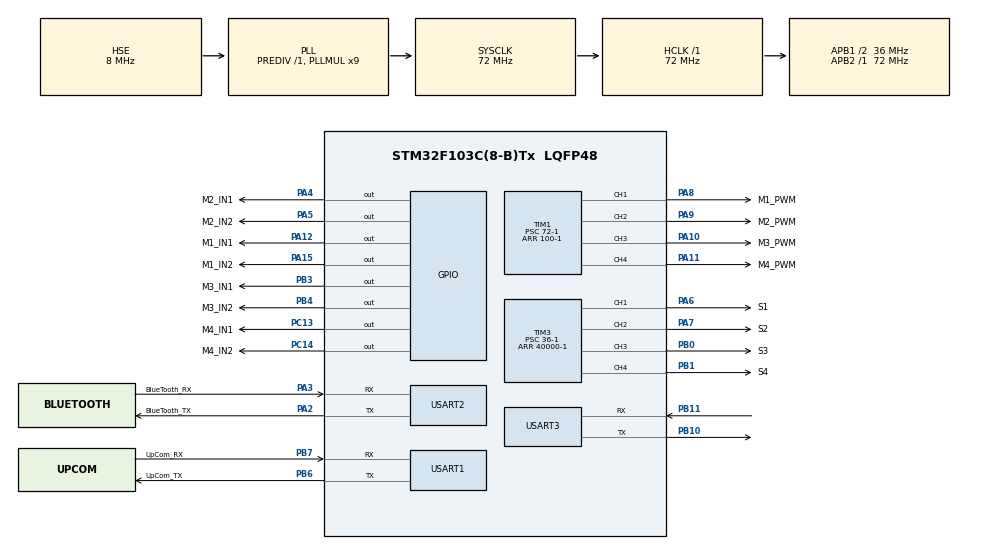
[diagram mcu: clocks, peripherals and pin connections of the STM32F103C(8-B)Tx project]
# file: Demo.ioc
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Dma.Request0=USART1_RX
Dma.Request1=USART1_TX
Dma.Request2=USART2_RX
Dma.Request3=USART2_TX
Dma.USART1_RX.0.Direction=DMA_PERIPH_TO_MEMORY
Dma.USART1_RX.0.Instance=DMA1_Channel5
Dma.USART1_RX.0.MemDataAlignment=DMA_MDATAALIGN_BYTE
Dma.USART1_RX.0.MemInc=DMA_MINC_ENABLE
Dma.USART1_RX.0.Mode=DMA_NORMAL
Dma.USART1_RX.0.PeriphDataAlignment=DMA_PDATAALIGN_BYTE
Dma.USART1_RX.0.PeriphInc=DMA_PINC_DISABLE
Dma.USART1_RX.0.Priority=DMA_PRIORITY_LOW
Dma.USART1_TX.1.Direction=DMA_MEMORY_TO_PERIPH
Dma.USART1_TX.1.Instance=DMA1_Channel4
Dma.USART1_TX.1.MemDataAlignment=DMA_MDATAALIGN_BYTE
Dma.USART1_TX.1.MemInc=DMA_MINC_ENABLE
Dma.USART1_TX.1.Mode=DMA_NORMAL
Dma.USART1_TX.1.PeriphDataAlignment=DMA_PDATAALIGN_BYTE
Dma.USART1_TX.1.PeriphInc=DMA_PINC_DISABLE
Dma.USART1_TX.1.Priority=DMA_PRIORITY_LOW
Dma.USART2_RX.2.Direction=DMA_PERIPH_TO_MEMORY
Dma.USART2_RX.2.Instance=DMA1_Channel6
Dma.USART2_RX.2.MemDataAlignment=DMA_MDATAALIGN_BYTE
Dma.USART2_RX.2.MemInc=DMA_MINC_ENABLE
Dma.USART2_RX.2.Mode=DMA_NORMAL
Dma.USART2_RX.2.PeriphDataAlignment=DMA_PDATAALIGN_BYTE
Dma.USART2_RX.2.PeriphInc=DMA_PINC_DISABLE
Dma.USART2_RX.2.Priority=DMA_PRIORITY_MEDIUM
Dma.USART2_TX.3.Direction=DMA_MEMORY_TO_PERIPH
Dma.USART2_TX.3.Instance=DMA1_Channel7
Dma.USART2_TX.3.MemDataAlignment=DMA_MDATAALIGN_BYTE
Dma.USART2_TX.3.MemInc=DMA_MINC_ENABLE
Dma.USART2_TX.3.Mode=DMA_NORMAL
Dma.USART2_TX.3.PeriphDataAlignment=DMA_PDATAALIGN_BYTE
Dma.USART2_TX.3.PeriphInc=DMA_PINC_DISABLE
Dma.USART2_TX.3.Priority=DMA_PRIORITY_LOW
Mcu.Family=STM32F1
Mcu.Name=STM32F103C(8-B)Tx
Mcu.Package=LQFP48
NVIC.DMA1_Channel4_IRQn=true\:0\:0\:false\:false\:true\:false\:true\:true
NVIC.DMA1_Channel5_IRQn=true\:0\:0\:true\:false\:true\:false\:true\:true
NVIC.DMA1_Channel6_IRQn=true\:0\:0\:false\:false\:true\:false\:true\:true
NVIC.DMA1_Channel7_IRQn=true\:0\:0\:false\:false\:true\:false\:true\:true
NVIC.PriorityGroup=NVIC_PRIORITYGROUP_4
NVIC.TIM2_IRQn=true\:0\:0\:false\:false\:true\:true\:true\:true
NVIC.USART1_IRQn=true\:0\:0\:false\:false\:true\:false\:true\:true
NVIC.USART2_IRQn=true\:0\:0\:false\:false\:true\:true\:true\:true
PA10.GPIO_Label=M3_PWM
PA10.GPIO_Speed=GPIO_SPEED_FREQ_HIGH
PA10.Signal=S_TIM1_CH3
PA11.GPIO_Label=M4_PWM
PA11.GPIO_Speed=GPIO_SPEED_FREQ_HIGH
PA11.Signal=S_TIM1_CH4
PA12.GPIO_Label=M1_IN1
PA12.GPIO_Speed=GPIO_SPEED_FREQ_MEDIUM
PA12.Signal=GPIO_Output
PA13.Mode=Serial_Wire
PA13.Signal=SYS_JTMS-SWDIO
PA14.Mode=Serial_Wire
PA14.Signal=SYS_JTCK-SWCLK
PA15.GPIO_Label=M1_IN2
PA15.GPIO_Speed=GPIO_SPEED_FREQ_MEDIUM
PA15.Signal=GPIO_Output
PA2.GPIO_Label=BlueTooth_TX
PA2.Mode=Asynchronous
PA2.Signal=USART2_TX
PA3.GPIO_Label=BlueTooth_RX
PA3.Mode=Asynchronous
PA3.Signal=USART2_RX
PA4.GPIO_Label=M2_IN1
PA4.GPIO_Speed=GPIO_SPEED_FREQ_MEDIUM
PA4.Signal=GPIO_Output
PA5.GPIO_Label=M2_IN2
PA5.GPIO_Speed=GPIO_SPEED_FREQ_MEDIUM
PA5.Signal=GPIO_Output
PA6.GPIO_Label=S1
PA6.GPIO_Speed=GPIO_SPEED_FREQ_HIGH
PA6.Signal=S_TIM3_CH1
PA7.GPIO_Label=S2
PA7.GPIO_Speed=GPIO_SPEED_FREQ_HIGH
PA7.Signal=S_TIM3_CH2
PA8.GPIO_Label=M1_PWM
PA8.GPIO_Speed=GPIO_SPEED_FREQ_HIGH
PA8.Signal=S_TIM1_CH1
PA9.GPIO_Label=M2_PWM
PA9.GPIO_Speed=GPIO_SPEED_FREQ_HIGH
PA9.Signal=S_TIM1_CH2
PB0.GPIO_Label=S3
PB0.GPIO_Speed=GPIO_SPEED_FREQ_HIGH
PB0.Signal=S_TIM3_CH3
PB1.GPIO_Label=S4
PB1.GPIO_Speed=GPIO_SPEED_FREQ_HIGH
PB1.Signal=S_TIM3_CH4
PB10.Mode=Asynchronous
PB10.Signal=USART3_TX
PB11.Mode=Asynchronous
PB11.Signal=USART3_RX
PB3.GPIO_Label=M3_IN1
PB3.GPIO_Speed=GPIO_SPEED_FREQ_MEDIUM
PB3.Signal=GPIO_Output
PB4.GPIO_Label=M3_IN2
PB4.GPIO_Speed=GPIO_SPEED_FREQ_MEDIUM
PB4.Signal=GPIO_Output
PB6.GPIO_Label=UpCom_TX
PB6.Mode=Asynchronous
PB6.Signal=USART1_TX
PB7.GPIO_Label=UpCom_RX
PB7.Mode=Asynchronous
PB7.Signal=USART1_RX
PC13-TAMPER-RTC.GPIO_Label=M4_IN1
PC13-TAMPER-RTC.GPIO_Speed=GPIO_SPEED_FREQ_MEDIUM
PC13-TAMPER-RTC.Signal=GPIO_Output
PC14-OSC32_IN.GPIO_Label=M4_IN2
PC14-OSC32_IN.GPIO_Speed=GPIO_SPEED_FREQ_MEDIUM
PC14-OSC32_IN.Signal=GPIO_Output
PD0-OSC_IN.Mode=HSE-External-Oscillator
PD0-OSC_IN.Signal=RCC_OSC_IN
PD1-OSC_OUT.Mode=HSE-External-Oscillator
PD1-OSC_OUT.Signal=RCC_OSC_OUT
ProjectManager.HeapSize=0x200
ProjectManager.StackSize=0x400
ProjectManager.TargetToolchain=MDK-ARM V5.32
RCC.AHBFreq_Value=72000000
RCC.APB1CLKDivider=RCC_HCLK_DIV2
RCC.APB1Freq_Value=36000000
RCC.APB1TimFreq_Value=72000000
RCC.APB2Freq_Value=72000000
RCC.APB2TimFreq_Value=72000000
RCC.HCLKFreq_Value=72000000
RCC.PLLMUL=RCC_PLL_MUL9
RCC.PLLSourceVirtual=RCC_PLLSOURCE_HSE
RCC.SYSCLKFreq_VALUE=72000000
RCC.SYSCLKSource=RCC_SYSCLKSOURCE_PLLCLK
RCC.USBFreq_Value=72000000
SH.S_TIM1_CH1.0=TIM1_CH1,PWM Generation1 CH1
SH.S_TIM1_CH2.0=TIM1_CH2,PWM Generation2 CH2
SH.S_TIM1_CH3.0=TIM1_CH3,PWM Generation3 CH3
SH.S_TIM1_CH4.0=TIM1_CH4,PWM Generation4 CH4
SH.S_TIM3_CH1.0=TIM3_CH1,PWM Generation1 CH1
SH.S_TIM3_CH2.0=TIM3_CH2,PWM Generation2 CH2
SH.S_TIM3_CH3.0=TIM3_CH3,PWM Generation3 CH3
SH.S_TIM3_CH4.0=TIM3_CH4,PWM Generation4 CH4
TIM1.AutoReloadPreload=TIM_AUTORELOAD_PRELOAD_ENABLE
TIM1.Channel-PWM\ Generation1\ CH1=TIM_CHANNEL_1
TIM1.Channel-PWM\ Generation2\ CH2=TIM_CHANNEL_2
TIM1.Channel-PWM\ Generation3\ CH3=TIM_CHANNEL_3
TIM1.Channel-PWM\ Generation4\ CH4=TIM_CHANNEL_4
TIM1.Period=100-1
TIM1.Prescaler=72-1
TIM2.AutoReloadPreload=TIM_AUTORELOAD_PRELOAD_ENABLE
TIM2.Prescaler=72-1
TIM3.AutoReloadPreload=TIM_AUTORELOAD_PRELOAD_ENABLE
TIM3.Channel-PWM\ Generation1\ CH1=TIM_CHANNEL_1
TIM3.Channel-PWM\ Generation2\ CH2=TIM_CHANNEL_2
TIM3.Channel-PWM\ Generation3\ CH3=TIM_CHANNEL_3
TIM3.Channel-PWM\ Generation4\ CH4=TIM_CHANNEL_4
TIM3.Period=40000-1
TIM3.Prescaler=36-1
USART1.VirtualMode=VM_ASYNC
USART2.VirtualMode=VM_ASYNC
USART3.VirtualMode=VM_ASYNC
VP_TIM1_VS_ClockSourceINT.Mode=Internal
VP_TIM2_VS_ClockSourceINT.Mode=Internal
VP_TIM3_VS_ClockSourceINT.Mode=Internal
VP_TIM4_VS_ClockSourceINT.Mode=Internal
board=custom

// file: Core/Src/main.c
/* USER CODE BEGIN Header */
/**
  ******************************************************************************
  * @file           : main.c
  * @brief          : Main program body
  ******************************************************************************
  * @attention
  *
  * Copyright (c) 2025 STMicroelectronics.
  * All rights reserved.
  *
  * This software is licensed under terms that can be found in the LICENSE file
  * in the root directory of this software component.
  * If no LICENSE file comes with this software, it is provided AS-IS.
  *
  ******************************************************************************
  */
/* USER CODE END Header */
#include "main.h"
#include "dma.h"
#include "tim.h"
#include "usart.h"
#include "gpio.h"

/* USER CODE BEGIN Includes */
#include "BlueTooth.h"
#include "UpCom.h"
#include <math.h>
//蓝牙通信相关数据
extern uint8_t Bluetooth_RxData[Bluetooth_length];//接收缓冲区
extern struct Struct_Bluetooth_RxData RxData;//存放数据的结构体
extern struct Struct_Bluetooth_PorcessData PorcessData;//处理后的结构体
//与上位机通信相关数据
extern uint8_t UpCom_RxData_Buffer[UpCom_length];//接收缓冲区域
extern struct Struct_UpCom_RxData UpComRxData;//存放数据的结构体
extern struct Struct_UpCom_ProcessData ProcessData;//处理后的结构体
/* USER CODE END Includes */

/* USER CODE BEGIN PTD */

//存放与驱动轮子有关的数据的结构体
typedef struct {
	float angle;					//手柄指向角度（以手柄松手处为原点平面直角坐标系）
	float divisor;				//除数（用来平衡占空比的值，解决麦轮解算出来后四角的值超过ARR的问题）
	float pct_omega;			//车的角速度对应占空比
	float pct_vx;    			//x方向速度比例
	float pct_vy;    			//y方向速度比例
	float v_wheels[5];		//轮子的速度
	float duty_wheels[5];	//轮子的占空比（pwm直接控制轮子转速）
}Mc_Wheels_Typedef;
/* USER CODE END PTD */

/* USER CODE BEGIN PD */
#define DY 0.1   					//中心到轮轴的最短距离
#define DX 0.06   				//轮轴中心到轮子中心的距离
#define R_WHEEL 0.03			//轮子半径
/* USER CODE END PD */

/* USER CODE BEGIN PV */
Mc_Wheels_Typedef mc_wheels;		//创建轮子结构体
uint8_t temp[4] = {1,2,3,4};		//临时变量用来要发给电脑的数据（仅仅用于检测）

//舵机位置初始化
int duty_S1 = 1442;//2800初始
int duty_S2 = 2800;
int duty_S3 = 4560;
int duty_S4 = 1920;

//电机速度上限
int Max_Speed = 99;
int Max_Speed_w = 99;

float DUTY_Wheels[5] = {0.0f};
/* USER CODE END PV */

void SystemClock_Config(void);
/* USER CODE BEGIN PFP */
void Amon_AllMotor_SharpBrake(void);	//急刹
void Amon_AllMotor_SlowBrake(void);		//缓刹
void Amon_Chassis_Calculate_Contrary(Mc_Wheels_Typedef* Mc_wheels,struct Struct_Bluetooth_PorcessData* PorcessData);  //底盘解算
void Amon_Direct_control(Mc_Wheels_Typedef* mc_wheels);	 //方向控制（控制各个轮子的转向）
void Amon_Serve_Control(void);
/* USER CODE END PFP */

/* USER CODE BEGIN 0 */
uint8_t count;//计数
void HAL_TIM_PeriodElapsedCallback(TIM_HandleTypeDef *htim)//一段时间检测以下各个按钮的状态
{
    if (htim->Instance == TIM2)
    {
        Key_Scan();
        //测试按键触发 单次按下只累加一次
        if(PorcessData.Key[0] == Key_Status_TRIG_FREE_PRESSED)
        {
          count ++;
        }

         if (huart2.ErrorCode)
        {
            HAL_UART_DMAStop(&huart2); // 停止以重启
            HAL_UARTEx_ReceiveToIdle_DMA(&huart2,Bluetooth_RxData,Bluetooth_length);
        }
    }
}
void HAL_UARTEx_RxEventCallback(UART_HandleTypeDef *huart, uint16_t Size)
{
		//蓝牙接收数据
    if (huart->Instance == USART2)
    {
      if(Bluetooth_RxData[0] == 0xAA && Bluetooth_RxData[1] == 0x55)
      {
        Bluetooth_Data_Process(Bluetooth_RxData);
      }
      HAL_UARTEx_ReceiveToIdle_DMA(&huart2,Bluetooth_RxData,Bluetooth_length);
    }

		//上位机接收数据
		if (huart->Instance == USART1){
			if(UpCom_RxData_Buffer[0] == 0x2a && UpCom_RxData_Buffer[UpCom_length - 1] == 0x3b){
				UpCom_Data_Process(UpCom_RxData_Buffer);//数据处理
				UpCom_Clear(UpCom_RxData_Buffer);//清楚缓冲区（解决因为缓冲区数据符合条件数据发了两次的问题）
				HAL_UART_Transmit_DMA(&huart1, temp, 4);//向上位机发送数据（不完善）
				HAL_UARTEx_ReceiveToIdle_DMA(&huart1,UpCom_RxData_Buffer,UpCom_length);//DMA空闲中断
			}
		}
}
/* USER CODE END 0 */

int main(void)
{

  /* MCU Configuration--------------------------------------------------------*/

  /* Reset of all peripherals, Initializes the Flash interface and the Systick. */
  HAL_Init();

  /* Configure the system clock */
  SystemClock_Config();

  /* Initialize all configured peripherals */
  MX_GPIO_Init();
  MX_DMA_Init();
  MX_USART1_UART_Init();
  MX_TIM4_Init();
  MX_TIM2_Init();
  MX_USART2_UART_Init();
  MX_TIM1_Init();
  MX_TIM3_Init();
  MX_USART3_UART_Init();
  /* USER CODE BEGIN 2 */
	//启动定时器
  HAL_TIM_Base_Start_IT(&htim2);//用来时不时检测按键
	HAL_UARTEx_ReceiveToIdle_DMA(&huart2,Bluetooth_RxData,Bluetooth_length);//DMA空闲中断，表示数据已经接收搬运完毕

	//电机PWM启动
	HAL_TIM_PWM_Start(&htim1, TIM_CHANNEL_1);	//左前
	HAL_TIM_PWM_Start(&htim1, TIM_CHANNEL_2); //右前
	HAL_TIM_PWM_Start(&htim1, TIM_CHANNEL_3); //左后
	HAL_TIM_PWM_Start(&htim1, TIM_CHANNEL_4); //右后

	//舵机启动
	HAL_TIM_PWM_Start(&htim3, TIM_CHANNEL_1);
	HAL_TIM_PWM_Start(&htim3, TIM_CHANNEL_2);
	HAL_TIM_PWM_Start(&htim3, TIM_CHANNEL_3);
	HAL_TIM_PWM_Start(&htim3, TIM_CHANNEL_4);

	//数值初始化
	mc_wheels.pct_omega = 0.0f;//omega初始化

	__HAL_TIM_SET_COMPARE(&htim3, TIM_CHANNEL_1, duty_S1);//2000-3500  *实际上和旋转的方向有关，精度不高* //3500ok，中间3cm左右的样子；3600的时候差1cm；3700闭合（不知道是否刚好）；3650刚好；
	HAL_Delay(250);
	__HAL_TIM_SET_COMPARE(&htim3, TIM_CHANNEL_2, duty_S2);
	HAL_Delay(250);
	__HAL_TIM_SET_COMPARE(&htim3, TIM_CHANNEL_3, duty_S3);//这里后面两个初始化的角度还需要再次测试
	HAL_Delay(250);
	__HAL_TIM_SET_COMPARE(&htim3, TIM_CHANNEL_4, duty_S4);
	HAL_Delay(250);

  /* USER CODE END 2 */

  /* Infinite loop */
  /* USER CODE BEGIN WHILE */
  while (1)
  {
		//总开关
		if (PorcessData.Key[11] == Key_Status_PRESSED){

			//舵机的位置控制
			Amon_Serve_Control();

			//判断模式切换速度挡位
			if (PorcessData.Key[8] == Key_Status_PRESSED){
				Max_Speed = 99;
				Max_Speed_w = 80;
			}
			if (PorcessData.Key[9] == Key_Status_PRESSED){
				Max_Speed = 70;
				Max_Speed_w = 73;
			}
			if (PorcessData.Key[10] == Key_Status_PRESSED){
				Max_Speed = 58;
				Max_Speed_w = 67;
			}
			//计算轮子速度；
			DUTY_Wheels[1] = PorcessData.Remote_Left_Y * Max_Speed + PorcessData.Remote_Right_X * Max_Speed_w;
			DUTY_Wheels[2] = PorcessData.Remote_Left_Y * Max_Speed - PorcessData.Remote_Right_X * Max_Speed_w;
			DUTY_Wheels[3] = PorcessData.Remote_Left_Y * Max_Speed + PorcessData.Remote_Right_X * Max_Speed_w;
			DUTY_Wheels[4] = PorcessData.Remote_Left_Y * Max_Speed - PorcessData.Remote_Right_X * Max_Speed_w;

			//限制轮子速度不要超过99；
			if (fabs(DUTY_Wheels[1]) > 99){
				if(DUTY_Wheels[1] > 4){
					DUTY_Wheels[1] = 99;
				} else if(DUTY_Wheels[1] < -4){
					DUTY_Wheels[1] = -99;
				}
			}
			if (fabs(DUTY_Wheels[2]) > 99){
				if(DUTY_Wheels[2] > 4){
					DUTY_Wheels[2] = 99;
				} else if(DUTY_Wheels[2] < -4){
					DUTY_Wheels[2] = -99;
				}
			}
			if (fabs(DUTY_Wheels[3]) > 99){
				if(DUTY_Wheels[3] > 4){
					DUTY_Wheels[3] = 99;
				} else if(DUTY_Wheels[1] < -4){
					DUTY_Wheels[3] = -99;
				}
			}
			if (fabs(DUTY_Wheels[4]) > 99){
				if(DUTY_Wheels[4] > 4){
					DUTY_Wheels[4] = 99;
				} else if(DUTY_Wheels[1] < -4){
					DUTY_Wheels[4] = -99;
				}
			}

			//控制转动方向；

			//轮子1（左前轮）判断转向
			if (DUTY_Wheels[1] < -4){//这个位置之前反了
				HAL_GPIO_WritePin(M1_IN1_GPIO_Port, M1_IN1_Pin, GPIO_PIN_SET);
				HAL_GPIO_WritePin(M1_IN2_GPIO_Port, M1_IN2_Pin, GPIO_PIN_RESET);
			}else if (DUTY_Wheels[1] > 4){
				HAL_GPIO_WritePin(M1_IN1_GPIO_Port,  M1_IN1_Pin, GPIO_PIN_RESET);
				HAL_GPIO_WritePin(M1_IN2_GPIO_Port, M1_IN2_Pin, GPIO_PIN_SET);
			}else{
				HAL_GPIO_WritePin(M1_IN1_GPIO_Port, M1_IN1_Pin, GPIO_PIN_SET);
				HAL_GPIO_WritePin(M1_IN2_GPIO_Port, M1_IN2_Pin, GPIO_PIN_SET);
			}

			//轮子2（右前轮）判断转向
			if (DUTY_Wheels[2] > 4){
				HAL_GPIO_WritePin(M2_IN1_GPIO_Port, M2_IN1_Pin, GPIO_PIN_SET);
				HAL_GPIO_WritePin(M2_IN2_GPIO_Port, M2_IN2_Pin, GPIO_PIN_RESET);
			}else if (DUTY_Wheels[2] < -4){
				HAL_GPIO_WritePin(M2_IN1_GPIO_Port, M2_IN1_Pin, GPIO_PIN_RESET);
				HAL_GPIO_WritePin(M2_IN2_GPIO_Port, M2_IN2_Pin, GPIO_PIN_SET);
			}else{
				HAL_GPIO_WritePin(M2_IN1_GPIO_Port, M2_IN1_Pin, GPIO_PIN_SET);
				HAL_GPIO_WritePin(M2_IN2_GPIO_Port, M2_IN2_Pin, GPIO_PIN_SET);
			}

			//轮子3（左后轮）判断转向
			if (DUTY_Wheels[3] < -4){
				HAL_GPIO_WritePin(M3_IN1_GPIO_Port, M3_IN1_Pin, GPIO_PIN_SET);
				HAL_GPIO_WritePin(M3_IN2_GPIO_Port, M3_IN2_Pin, GPIO_PIN_RESET);
			}else if (DUTY_Wheels[3] > 4){
				HAL_GPIO_WritePin(M3_IN1_GPIO_Port, M3_IN1_Pin, GPIO_PIN_RESET);
				HAL_GPIO_WritePin(M3_IN2_GPIO_Port, M3_IN2_Pin, GPIO_PIN_SET);
			}else{
				HAL_GPIO_WritePin(M3_IN1_GPIO_Port, M3_IN1_Pin, GPIO_PIN_SET);
				HAL_GPIO_WritePin(M3_IN2_GPIO_Port, M3_IN2_Pin, GPIO_PIN_SET);
			}

			//轮子4（右后轮）判断转向
			if (DUTY_Wheels[4] > 4){
				HAL_GPIO_WritePin(M4_IN1_GPIO_Port, M4_IN1_Pin, GPIO_PIN_SET);
				HAL_GPIO_WritePin(M4_IN2_GPIO_Port, M4_IN2_Pin, GPIO_PIN_RESET);
			}else if (DUTY_Wheels[4] < -4){
				HAL_GPIO_WritePin(M4_IN1_GPIO_Port, M4_IN1_Pin, GPIO_PIN_RESET);
				HAL_GPIO_WritePin(M4_IN2_GPIO_Port, M4_IN2_Pin, GPIO_PIN_SET);
			}else{
				HAL_GPIO_WritePin(M4_IN1_GPIO_Port, M4_IN1_Pin, GPIO_PIN_SET);
				HAL_GPIO_WritePin(M4_IN2_GPIO_Port, M4_IN2_Pin, GPIO_PIN_SET);
			}

			//控制四个电机的占空比
			__HAL_TIM_SET_COMPARE(&htim1, TIM_CHANNEL_1, fabs(DUTY_Wheels[1]));
			__HAL_TIM_SET_COMPARE(&htim1, TIM_CHANNEL_2, fabs(DUTY_Wheels[2]));
			__HAL_TIM_SET_COMPARE(&htim1, TIM_CHANNEL_3, fabs(DUTY_Wheels[3]));
			__HAL_TIM_SET_COMPARE(&htim1, TIM_CHANNEL_4, fabs(DUTY_Wheels[4]));

			if (PorcessData.Key[14] == Key_Status_TRIG_FREE_PRESSED){//放平准备抓取

				//夹爪位移
				if (duty_S1 < 1240){
					for (int i = duty_S1; i <= 1240; i++){
						duty_S1 += 1;
						__HAL_TIM_SET_COMPARE(&htim3, TIM_CHANNEL_1, duty_S1);
						HAL_Delay(1);
					}
				} else if(duty_S1 > 1244){
					for (int i = duty_S1; i >= 1244; i--){
						duty_S1 -= 1;
						__HAL_TIM_SET_COMPARE(&htim3, TIM_CHANNEL_1, duty_S1);
						HAL_Delay(1);
					}
				}

				//小臂位移
				if (duty_S3 < 3331){
					for (int i = duty_S3; i <= 3331; i++){
						duty_S3 += 1;
						__HAL_TIM_SET_COMPARE(&htim3, TIM_CHANNEL_3, duty_S3);
						HAL_Delay(1);
					}
				} else if(duty_S3 > 3335){
					for (int i = duty_S3; i >= 3335; i--){
						duty_S3 -= 1;
						__HAL_TIM_SET_COMPARE(&htim3, TIM_CHANNEL_3, duty_S3);
						HAL_Delay(1);
					}
				}

				//大臂位移
				if (duty_S4 < 1791){
					for (int i = duty_S4; i <= 1791; i++){
						duty_S4 += 1;
						__HAL_TIM_SET_COMPARE(&htim3, TIM_CHANNEL_4, duty_S4);
						HAL_Delay(1);
					}
				} else if(duty_S4 > 1795){
					for (int i = duty_S4; i >= 1795; i--){
						duty_S4 -= 1;
						__HAL_TIM_SET_COMPARE(&htim3, TIM_CHANNEL_4, duty_S4);
						HAL_Delay(1);
					}
				}

				for (int i = 90; i >= 65; i--){

					//向前小冲
					HAL_GPIO_WritePin(M1_IN1_GPIO_Port, M1_IN1_Pin, GPIO_PIN_RESET);
					HAL_GPIO_WritePin(M1_IN2_GPIO_Port, M1_IN2_Pin, GPIO_PIN_SET);

					HAL_GPIO_WritePin(M2_IN1_GPIO_Port, M2_IN1_Pin, GPIO_PIN_SET);
					HAL_GPIO_WritePin(M2_IN2_GPIO_Port, M2_IN2_Pin, GPIO_PIN_RESET);

					HAL_GPIO_WritePin(M3_IN1_GPIO_Port, M3_IN1_Pin, GPIO_PIN_RESET);
					HAL_GPIO_WritePin(M3_IN2_GPIO_Port, M3_IN2_Pin, GPIO_PIN_SET);

					HAL_GPIO_WritePin(M4_IN1_GPIO_Port, M4_IN1_Pin, GPIO_PIN_SET);
					HAL_GPIO_WritePin(M4_IN2_GPIO_Port, M4_IN2_Pin, GPIO_PIN_RESET);

					__HAL_TIM_SET_COMPARE(&htim1, TIM_CHANNEL_1, i);
					__HAL_TIM_SET_COMPARE(&htim1, TIM_CHANNEL_2, i);
					__HAL_TIM_SET_COMPARE(&htim1, TIM_CHANNEL_3, i);
					__HAL_TIM_SET_COMPARE(&htim1, TIM_CHANNEL_4, i);

					HAL_Delay(20);
				}

				for (int i = 90; i >= 65; i--){

					//往后小退
					HAL_GPIO_WritePin(M1_IN1_GPIO_Port, M1_IN1_Pin, GPIO_PIN_SET);
					HAL_GPIO_WritePin(M1_IN2_GPIO_Port, M1_IN2_Pin, GPIO_PIN_RESET);

					HAL_GPIO_WritePin(M2_IN1_GPIO_Port, M2_IN1_Pin, GPIO_PIN_RESET);
					HAL_GPIO_WritePin(M2_IN2_GPIO_Port, M2_IN2_Pin, GPIO_PIN_SET);

					HAL_GPIO_WritePin(M3_IN1_GPIO_Port, M3_IN1_Pin, GPIO_PIN_SET);
					HAL_GPIO_WritePin(M3_IN2_GPIO_Port, M3_IN2_Pin, GPIO_PIN_RESET);

					HAL_GPIO_WritePin(M4_IN1_GPIO_Port, M4_IN1_Pin, GPIO_PIN_RESET);
					HAL_GPIO_WritePin(M4_IN2_GPIO_Port, M4_IN2_Pin, GPIO_PIN_SET);

					__HAL_TIM_SET_COMPARE(&htim1, TIM_CHANNEL_1, i);
					__HAL_TIM_SET_COMPARE(&htim1, TIM_CHANNEL_2, i);
					__HAL_TIM_SET_COMPARE(&htim1, TIM_CHANNEL_3, i);
					__HAL_TIM_SET_COMPARE(&htim1, TIM_CHANNEL_4, i);

					HAL_Delay(6);
				}

				//停止
				HAL_GPIO_WritePin(M1_IN1_GPIO_Port, M1_IN1_Pin, GPIO_PIN_SET);
				HAL_GPIO_WritePin(M1_IN2_GPIO_Port, M1_IN2_Pin, GPIO_PIN_SET);

				HAL_GPIO_WritePin(M2_IN1_GPIO_Port, M2_IN1_Pin, GPIO_PIN_SET);
				HAL_GPIO_WritePin(M2_IN2_GPIO_Port, M2_IN2_Pin, GPIO_PIN_SET);

				HAL_GPIO_WritePin(M3_IN1_GPIO_Port, M3_IN1_Pin, GPIO_PIN_SET);
				HAL_GPIO_WritePin(M3_IN2_GPIO_Port, M3_IN2_Pin, GPIO_PIN_SET);

				HAL_GPIO_WritePin(M4_IN1_GPIO_Port, M4_IN1_Pin, GPIO_PIN_SET);
				HAL_GPIO_WritePin(M4_IN2_GPIO_Port, M4_IN2_Pin, GPIO_PIN_SET);

				//小臂位移
				if (duty_S3 < 4032){
					for (int i = duty_S3; i <= 4032; i++){
						duty_S3 += 1;
						__HAL_TIM_SET_COMPARE(&htim3, TIM_CHANNEL_3, duty_S3);
						HAL_Delay(1);
					}
				} else if(duty_S3 > 4036){
					for (int i = duty_S3; i >= 4036; i--){
						duty_S3 -= 1;
						__HAL_TIM_SET_COMPARE(&htim3, TIM_CHANNEL_3, duty_S3);
						HAL_Delay(1);
					}
				}

				//位移夹爪
				if (duty_S1 < 2148){
					for (int i = duty_S1; i <= 2148; i++){
						duty_S1 += 1;
						__HAL_TIM_SET_COMPARE(&htim3, TIM_CHANNEL_1, duty_S1);
						HAL_Delay(1);
					}
				} else if(duty_S1 > 2152){
					for (int i = duty_S1; i >= 2152; i--){
						duty_S1 -= 1;
						__HAL_TIM_SET_COMPARE(&htim3, TIM_CHANNEL_1, duty_S1);
						HAL_Delay(1);
					}
				}

				//小臂位移
				if (duty_S3 < 3331){
					for (int i = duty_S3; i <= 3331; i++){
						duty_S3 += 1;
						__HAL_TIM_SET_COMPARE(&htim3, TIM_CHANNEL_3, duty_S3);
						HAL_Delay(1);
					}
				} else if(duty_S3 > 3335){
					for (int i = duty_S3; i >= 3335; i--){
						duty_S3 -= 1;
						__HAL_TIM_SET_COMPARE(&htim3, TIM_CHANNEL_3, duty_S3);
						HAL_Delay(1);
					}
				}

				//大臂位移
				if (duty_S4 < 1791){
					for (int i = duty_S4; i <= 1791; i++){
						duty_S4 += 1;
						__HAL_TIM_SET_COMPARE(&htim3, TIM_CHANNEL_4, duty_S4);
						HAL_Delay(1);
					}
				} else if(duty_S4 > 1795){
					for (int i = duty_S4; i >= 1795; i--){
						duty_S4 -= 1;
						__HAL_TIM_SET_COMPARE(&htim3, TIM_CHANNEL_4, duty_S4);
						HAL_Delay(1);
					}
				}

				continue;

			}else if (PorcessData.Key[13] == Key_Status_TRIG_FREE_PRESSED){//位移到过狗洞模式

				//大臂上抬升
				if (duty_S4 < 1790){
					for (int i = duty_S4; i <= 1790; i++){
						duty_S4 += 1;
						__HAL_TIM_SET_COMPARE(&htim3, TIM_CHANNEL_4, duty_S4);
						HAL_Delay(1);
					}
				} else if(duty_S4 > 1794){
					for (int i = duty_S4; i >= 1794; i--){
						duty_S4 -= 1;
						__HAL_TIM_SET_COMPARE(&htim3, TIM_CHANNEL_4, duty_S4);
						HAL_Delay(1);
					}
				}

				//小臂下压
				if (duty_S3 < 3766){
					for (int i = duty_S3; i <= 3766; i++){
						duty_S3 += 1;
						__HAL_TIM_SET_COMPARE(&htim3, TIM_CHANNEL_3, duty_S3);
						HAL_Delay(1);
					}
				} else if(duty_S3 > 3770){
					for (int i = duty_S3; i >= 3770; i--){
						duty_S3 -= 1;
						__HAL_TIM_SET_COMPARE(&htim3, TIM_CHANNEL_3, duty_S3);
						HAL_Delay(1);
					}
				}

				continue;

			} else if (PorcessData.Key[12] == Key_Status_TRIG_FREE_PRESSED) {//位移到稳定抓取模式

				//大臂下压
				if (duty_S4 < 2833){
					for (int i = duty_S4; i <= 2833; i++){
						duty_S4 += 1;
						__HAL_TIM_SET_COMPARE(&htim3, TIM_CHANNEL_4, duty_S4);
						HAL_Delay(1);
					}
				} else if(duty_S4 > 2837){
					for (int i = duty_S4; i >= 2837; i--){
						duty_S4 -= 1;
						__HAL_TIM_SET_COMPARE(&htim3, TIM_CHANNEL_4, duty_S4);
						HAL_Delay(1);
					}
				}

				//小臂下压
				if (duty_S3 < 3030){
					for (int i = duty_S3; i <= 3030; i++){
						duty_S3 += 1;
						__HAL_TIM_SET_COMPARE(&htim3, TIM_CHANNEL_3, duty_S3);
						HAL_Delay(1);
					}
				} else if(duty_S3 > 3034){
					for (int i = duty_S3; i >= 3034; i--){
						duty_S3 -= 1;
						__HAL_TIM_SET_COMPARE(&htim3, TIM_CHANNEL_3, duty_S3);
						HAL_Delay(1);
					}
				}

				continue;

			}

			else if (PorcessData.Key[15] == Key_Status_TRIG_FREE_PRESSED){//投矿抓法

				//张开夹爪
				if (duty_S1 < 1440){
					for (int i = duty_S1; i <= 1441; i++){
						duty_S1 += 1;
						__HAL_TIM_SET_COMPARE(&htim3, TIM_CHANNEL_1, duty_S1);
						HAL_Delay(1);
					}
				} else if(duty_S1 > 1444){
					for (int i = duty_S1; i >= 1444; i--){
						duty_S1 -= 1;
						__HAL_TIM_SET_COMPARE(&htim3, TIM_CHANNEL_1, duty_S1);
						HAL_Delay(1);
					}
				}

				//小臂下压
				if (duty_S3 < 4115){
					for (int i = duty_S3; i <= 4115; i++){
						duty_S3 += 1;
						__HAL_TIM_SET_COMPARE(&htim3, TIM_CHANNEL_3, duty_S3);
						HAL_Delay(1);
					}
				} else if(duty_S3 > 4119){
					for (int i = duty_S3; i >= 4119; i--){
						duty_S3 -= 1;
						__HAL_TIM_SET_COMPARE(&htim3, TIM_CHANNEL_3, duty_S3);
						HAL_Delay(1);
					}
				}

				//大臂下压
				if (duty_S4 < 1791){
					for (int i = duty_S4; i <= 1791; i++){
						duty_S4 += 1;
						__HAL_TIM_SET_COMPARE(&htim3, TIM_CHANNEL_4, duty_S4);
						HAL_Delay(1);
					}
				} else if(duty_S4 > 1795){
					for (int i = duty_S4; i >= 1795; i--){
						duty_S4 -= 1;
						__HAL_TIM_SET_COMPARE(&htim3, TIM_CHANNEL_4, duty_S4);
						HAL_Delay(1);
					}
				}

				continue;

			} else if (1){
				//设置四个舵机的占空比
				__HAL_TIM_SET_COMPARE(&htim3, TIM_CHANNEL_1, duty_S1);
				__HAL_TIM_SET_COMPARE(&htim3, TIM_CHANNEL_2, duty_S2);
				__HAL_TIM_SET_COMPARE(&htim3, TIM_CHANNEL_3, duty_S3);
				__HAL_TIM_SET_COMPARE(&htim3, TIM_CHANNEL_4, duty_S4);
			}

			HAL_Delay(2);

		}//启动结束
    /* USER CODE END WHILE */

  }
}

void SystemClock_Config(void)
{
  RCC_OscInitTypeDef RCC_OscInitStruct = {0};
  RCC_ClkInitTypeDef RCC_ClkInitStruct = {0};

  /** Initializes the RCC Oscillators according to the specified parameters
  * in the RCC_OscInitTypeDef structure.
  */
  RCC_OscInitStruct.OscillatorType = RCC_OSCILLATORTYPE_HSE;
  RCC_OscInitStruct.HSEState = RCC_HSE_ON;
  RCC_OscInitStruct.HSEPredivValue = RCC_HSE_PREDIV_DIV1;
  RCC_OscInitStruct.HSIState = RCC_HSI_ON;
  RCC_OscInitStruct.PLL.PLLState = RCC_PLL_ON;
  RCC_OscInitStruct.PLL.PLLSource = RCC_PLLSOURCE_HSE;
  RCC_OscInitStruct.PLL.PLLMUL = RCC_PLL_MUL9;
  if (HAL_RCC_OscConfig(&RCC_OscInitStruct) != HAL_OK)
  {
    Error_Handler();
  }

  /** Initializes the CPU, AHB and APB buses clocks
  */
  RCC_ClkInitStruct.ClockType = RCC_CLOCKTYPE_HCLK|RCC_CLOCKTYPE_SYSCLK
                              |RCC_CLOCKTYPE_PCLK1|RCC_CLOCKTYPE_PCLK2;
  RCC_ClkInitStruct.SYSCLKSource = RCC_SYSCLKSOURCE_PLLCLK;
  RCC_ClkInitStruct.AHBCLKDivider = RCC_SYSCLK_DIV1;
  RCC_ClkInitStruct.APB1CLKDivider = RCC_HCLK_DIV2;
  RCC_ClkInitStruct.APB2CLKDivider = RCC_HCLK_DIV1;

  if (HAL_RCC_ClockConfig(&RCC_ClkInitStruct, FLASH_LATENCY_2) != HAL_OK)
  {
    Error_Handler();
  }
}

/* USER CODE BEGIN 4 */

//舵机角度计算
void Amon_Serve_Control(){
	//爪
	if (PorcessData.Key[1] == Key_Status_PRESSED && duty_S1 <= 2150){
		duty_S1 += 3;
	}
	if (PorcessData.Key[2] == Key_Status_PRESSED && duty_S1 >= 1000){
		duty_S1 -= 3;
	}

	//转
	if (PorcessData.Key[4] == Key_Status_PRESSED && duty_S2 <= 4500){
		duty_S2 += 4;
	}
	if (PorcessData.Key[5] == Key_Status_PRESSED && duty_S2 >= 1500){
		duty_S2 -= 4;
	}

	//角度1
	if (PorcessData.Key[3] == Key_Status_PRESSED && duty_S3 <= 5000){
		duty_S3 += 4;
	}
	if (PorcessData.Key[0] == Key_Status_PRESSED && duty_S3 >= 1000){
		duty_S3 -= 4;
	}

	//抬升
	if (PorcessData.Key[7] == Key_Status_PRESSED && duty_S4 <= 5000){
		duty_S4 += 4;
	}
	if (PorcessData.Key[6] == Key_Status_PRESSED && duty_S4 >= 1000){
		duty_S4 -= 4;
	}
	HAL_Delay(2);
}

//急刹车:  四个电机全部设置为高电平
void Amon_AllMotor_SharpBrake(){

		//停止M1马达
		HAL_GPIO_WritePin(M1_IN1_GPIO_Port, M1_IN1_Pin, GPIO_PIN_SET);
		HAL_GPIO_WritePin(M1_IN2_GPIO_Port, M1_IN2_Pin, GPIO_PIN_SET);

		//停止M2马达
		HAL_GPIO_WritePin(M2_IN1_GPIO_Port, M2_IN1_Pin, GPIO_PIN_SET);
		HAL_GPIO_WritePin(M2_IN2_GPIO_Port, M2_IN2_Pin, GPIO_PIN_SET);

		//停止M3马达
		HAL_GPIO_WritePin(M3_IN1_GPIO_Port, M3_IN1_Pin, GPIO_PIN_SET);
		HAL_GPIO_WritePin(M3_IN2_GPIO_Port, M3_IN2_Pin, GPIO_PIN_SET);

		//停止M4马达
		HAL_GPIO_WritePin(M4_IN1_GPIO_Port, M4_IN1_Pin, GPIO_PIN_SET);
		HAL_GPIO_WritePin(M4_IN2_GPIO_Port, M4_IN2_Pin, GPIO_PIN_SET);

		HAL_Delay(1);		//1毫秒缓一缓
}

//缓慢刹车:  四个电机全部设置为低电平
void Amon_AllMotor_SlowBrake(){

		//停止M1马达
		HAL_GPIO_WritePin(M1_IN1_GPIO_Port, M1_IN1_Pin, GPIO_PIN_RESET);
		HAL_GPIO_WritePin(M1_IN2_GPIO_Port, M1_IN2_Pin, GPIO_PIN_RESET);

		//停止M2马达
		HAL_GPIO_WritePin(M2_IN1_GPIO_Port, M2_IN1_Pin, GPIO_PIN_RESET);
		HAL_GPIO_WritePin(M2_IN2_GPIO_Port, M2_IN2_Pin, GPIO_PIN_RESET);

		//停止M3马达
		HAL_GPIO_WritePin(M3_IN1_GPIO_Port, M3_IN1_Pin, GPIO_PIN_RESET);
		HAL_GPIO_WritePin(M3_IN2_GPIO_Port, M3_IN2_Pin, GPIO_PIN_RESET);

		//停止M4马达
		HAL_GPIO_WritePin(M4_IN1_GPIO_Port, M4_IN1_Pin, GPIO_PIN_RESET);
		HAL_GPIO_WritePin(M4_IN2_GPIO_Port, M4_IN2_Pin, GPIO_PIN_RESET);

		HAL_Delay(1);		//1毫秒缓一缓
}

//将手柄的速度解算到底盘四个轮子上
void Amon_Chassis_Calculate_Contrary(Mc_Wheels_Typedef* Mc_wheels, struct Struct_Bluetooth_PorcessData* PorcessData){

	Mc_wheels->pct_omega = PorcessData->Remote_Right_X * 400;//读取手柄的值计算旋转角速度的比例
	float x_circle = PorcessData->Remote_Left_X;//映射到圆后的x值
	float y_circle = PorcessData->Remote_Left_Y;//映射到圆后的y值
	if (fabsf(x_circle) < 0.01f && fabsf(y_circle) < 0.01f) {//防止松手任然计算角度产生过大的值
    Mc_wheels->angle = 0.0f;
	} else {
		Mc_wheels->angle = atan(y_circle / x_circle);//计算手柄指向角度
	}
	Mc_wheels->divisor = 1 + 0.4 * fabs(sin(2 * Mc_wheels->angle));//除数（解决四角值过大的问题）
	//计算比例
	Mc_wheels->pct_vx = x_circle * 100.0;
	Mc_wheels->pct_vy = y_circle * 100.0;
	//计算每个轮子应有的占空比
	Mc_wheels->duty_wheels[1] = (Mc_wheels->pct_vy + Mc_wheels->pct_vx) / Mc_wheels->divisor + Mc_wheels->pct_omega * (DX + DY);
	Mc_wheels->duty_wheels[2] = (Mc_wheels->pct_vy - Mc_wheels->pct_vx) / Mc_wheels->divisor - Mc_wheels->pct_omega * (DX + DY);
	Mc_wheels->duty_wheels[3] = (Mc_wheels->pct_vy - Mc_wheels->pct_vx) / Mc_wheels->divisor + Mc_wheels->pct_omega * (DX + DY);
	Mc_wheels->duty_wheels[4] = (Mc_wheels->pct_vy + Mc_wheels->pct_vx) / Mc_wheels->divisor - Mc_wheels->pct_omega * (DX + DY);
}

//手柄控制转动方向
void Amon_Direct_control(Mc_Wheels_Typedef* mc_wheels){

	//轮子1（左前轮）判断转向
	if (mc_wheels->duty_wheels[1] < 0x02){
		HAL_GPIO_WritePin(M1_IN1_GPIO_Port, M1_IN1_Pin, GPIO_PIN_SET);
		HAL_GPIO_WritePin(M1_IN2_GPIO_Port, M1_IN2_Pin, GPIO_PIN_RESET);
	}else if (mc_wheels->duty_wheels[1] > -0x02){
		HAL_GPIO_WritePin(M1_IN1_GPIO_Port, M1_IN1_Pin, GPIO_PIN_RESET);
		HAL_GPIO_WritePin(M1_IN2_GPIO_Port, M1_IN2_Pin, GPIO_PIN_SET);
	}else{
		HAL_GPIO_WritePin(M1_IN1_GPIO_Port, M1_IN1_Pin, GPIO_PIN_RESET);
		HAL_GPIO_WritePin(M1_IN2_GPIO_Port, M1_IN2_Pin, GPIO_PIN_RESET);
	}

	//轮子2（右前轮）判断转向
	if (mc_wheels->duty_wheels[2] > 0x02){
		HAL_GPIO_WritePin(M2_IN1_GPIO_Port, M2_IN1_Pin, GPIO_PIN_SET);
		HAL_GPIO_WritePin(M2_IN2_GPIO_Port, M2_IN2_Pin, GPIO_PIN_RESET);
	}else if (mc_wheels->duty_wheels[2] < -0x02){
		HAL_GPIO_WritePin(M2_IN1_GPIO_Port, M2_IN1_Pin, GPIO_PIN_RESET);
		HAL_GPIO_WritePin(M2_IN2_GPIO_Port, M2_IN2_Pin, GPIO_PIN_SET);
	}else{
		HAL_GPIO_WritePin(M2_IN1_GPIO_Port, M2_IN1_Pin, GPIO_PIN_RESET);
		HAL_GPIO_WritePin(M2_IN2_GPIO_Port, M2_IN2_Pin, GPIO_PIN_RESET);
	}

	//轮子3（左后轮）判断转向
	if (mc_wheels->duty_wheels[3] < 0x02){
		HAL_GPIO_WritePin(M3_IN1_GPIO_Port, M3_IN1_Pin, GPIO_PIN_SET);
		HAL_GPIO_WritePin(M3_IN2_GPIO_Port, M3_IN2_Pin, GPIO_PIN_RESET);
	}else if (mc_wheels->duty_wheels[3] > -0x02){
		HAL_GPIO_WritePin(M3_IN1_GPIO_Port, M3_IN1_Pin, GPIO_PIN_RESET);
		HAL_GPIO_WritePin(M3_IN2_GPIO_Port, M3_IN2_Pin, GPIO_PIN_SET);
	}else{
		HAL_GPIO_WritePin(M3_IN1_GPIO_Port, M3_IN1_Pin, GPIO_PIN_RESET);
		HAL_GPIO_WritePin(M3_IN2_GPIO_Port, M3_IN2_Pin, GPIO_PIN_RESET);
	}

	//轮子4（右后轮）判断转向
	if (mc_wheels->duty_wheels[4] > 0x02){
		HAL_GPIO_WritePin(M4_IN1_GPIO_Port, M4_IN1_Pin, GPIO_PIN_SET);
		HAL_GPIO_WritePin(M4_IN2_GPIO_Port, M4_IN2_Pin, GPIO_PIN_RESET);
	}else if (mc_wheels->duty_wheels[4] < -0x02){
		HAL_GPIO_WritePin(M4_IN1_GPIO_Port, M4_IN1_Pin, GPIO_PIN_RESET);
		HAL_GPIO_WritePin(M4_IN2_GPIO_Port, M4_IN2_Pin, GPIO_PIN_SET);
	}else{
		HAL_GPIO_WritePin(M4_IN1_GPIO_Port, M4_IN1_Pin, GPIO_PIN_RESET);
		HAL_GPIO_WritePin(M4_IN2_GPIO_Port, M4_IN2_Pin, GPIO_PIN_RESET);
	}
}

/* USER CODE END 4 */

void Error_Handler(void)
{
  __disable_irq();
  while (1)
  {
  }
}
